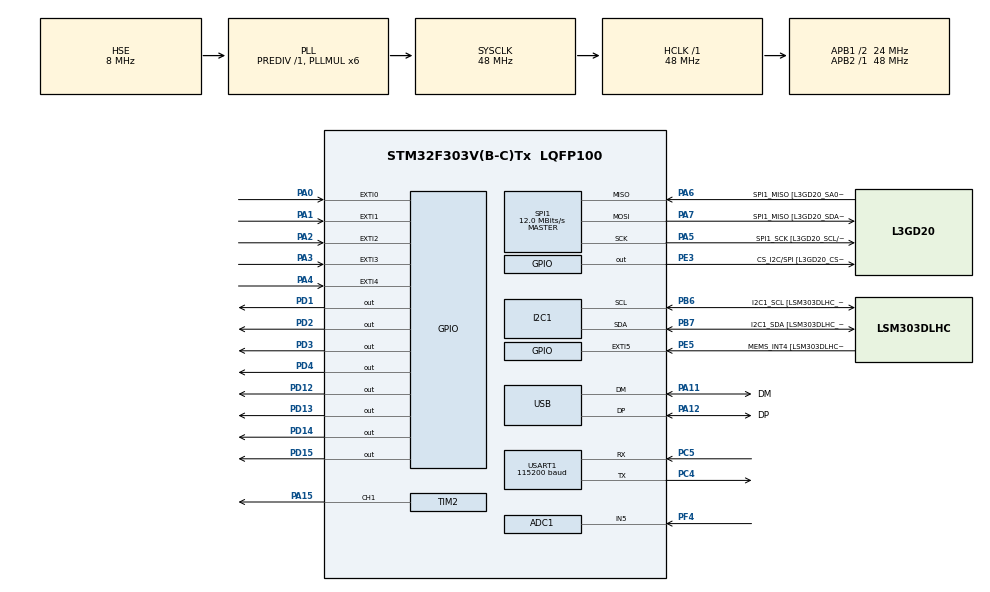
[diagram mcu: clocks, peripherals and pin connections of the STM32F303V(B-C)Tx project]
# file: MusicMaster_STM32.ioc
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ADC1.Channel-1\#ChannelRegularConversion=ADC_CHANNEL_5
ADC1.ContinuousConvMode=ENABLE
ADC1.NbrOfConversionFlag=1
ADC1.Offset-1\#ChannelRegularConversion=0
ADC1.OffsetNumber-1\#ChannelRegularConversion=ADC_OFFSET_NONE
ADC1.Rank-1\#ChannelRegularConversion=1
ADC1.SamplingTime-1\#ChannelRegularConversion=ADC_SAMPLETIME_181CYCLES_5
ADC1.master=1
I2C1.Timing-I2C=0x2000090E
Mcu.Family=STM32F3
Mcu.Name=STM32F303V(B-C)Tx
Mcu.Package=LQFP100
NVIC.ADC1_2_IRQn=true\:1\:0\:true\:false\:true\:true\:true\:true
NVIC.EXTI0_IRQn=true\:0\:0\:true\:false\:true\:true\:true\:true
NVIC.EXTI1_IRQn=true\:0\:0\:false\:false\:true\:true\:true\:true
NVIC.EXTI2_TSC_IRQn=true\:0\:0\:true\:false\:true\:true\:true\:true
NVIC.EXTI3_IRQn=true\:0\:0\:false\:false\:true\:true\:true\:true
NVIC.EXTI4_IRQn=true\:0\:0\:true\:false\:true\:true\:true\:true
NVIC.PriorityGroup=NVIC_PRIORITYGROUP_2
NVIC.TIM1_UP_TIM16_IRQn=true\:0\:0\:false\:false\:true\:true\:true\:true
NVIC.USART1_IRQn=true\:2\:0\:true\:false\:true\:true\:true\:true
PA0.GPIO_ModeDefaultEXTI=GPIO_MODE_IT_RISING_FALLING
PA0.Signal=GPXTI0
PA1.GPIO_ModeDefaultEXTI=GPIO_MODE_IT_RISING_FALLING
PA1.GPIO_PuPd=GPIO_PULLUP
PA1.Signal=GPXTI1
PA11.GPIO_Label=DM
PA11.Mode=Device
PA11.Signal=USB_DM
PA12.GPIO_Label=DP
PA12.Mode=Device
PA12.Signal=USB_DP
PA13.GPIO_Label=SWDIO
PA13.Mode=Serial_Wire
PA13.Signal=SYS_JTMS-SWDIO
PA14.GPIO_Label=SWCLK
PA14.Mode=Serial_Wire
PA14.Signal=SYS_JTCK-SWCLK
PA15.Signal=S_TIM2_CH1_ETR
PA2.GPIO_ModeDefaultEXTI=GPIO_MODE_IT_RISING_FALLING
PA2.GPIO_PuPd=GPIO_PULLUP
PA2.Signal=GPXTI2
PA3.GPIO_ModeDefaultEXTI=GPIO_MODE_IT_RISING_FALLING
PA3.GPIO_PuPd=GPIO_PULLUP
PA3.Signal=GPXTI3
PA4.GPIO_ModeDefaultEXTI=GPIO_MODE_IT_RISING_FALLING
PA4.GPIO_PuPd=GPIO_PULLUP
PA4.Signal=GPXTI4
PA5.GPIO_Label=SPI1_SCK [L3GD20_SCL/SPC]
PA5.Mode=Full_Duplex_Master
PA5.Signal=SPI1_SCK
PA6.GPIO_Label=SPI1_MISO [L3GD20_SA0/SDO]
PA6.Mode=Full_Duplex_Master
PA6.Signal=SPI1_MISO
PA7.GPIO_Label=SPI1_MISO [L3GD20_SDA/SDI/SDO]
PA7.Mode=Full_Duplex_Master
PA7.Signal=SPI1_MOSI
PB3.GPIO_Label=SWO
PB3.Signal=SYS_JTDO-TRACESWO
PB6.GPIO_Label=I2C1_SCL [LSM303DLHC_SCL]
PB6.GPIO_Pu=GPIO_PULLUP
PB6.Mode=I2C
PB6.Signal=I2C1_SCL
PB7.GPIO_Label=I2C1_SDA [LSM303DLHC_SDA]
PB7.GPIO_Pu=GPIO_PULLUP
PB7.Mode=I2C
PB7.Signal=I2C1_SDA
PC14-OSC32_IN.GPIO_Label=OSC32_IN
PC14-OSC32_IN.Signal=RCC_OSC32_IN
PC15-OSC32_OUT.GPIO_Label=OSC32_OUT
PC15-OSC32_OUT.Signal=RCC_OSC32_OUT
PC4.Mode=Asynchronous
PC4.Signal=USART1_TX
PC5.Mode=Asynchronous
PC5.Signal=USART1_RX
PD1.Signal=GPIO_Output
PD12.Signal=GPIO_Output
PD13.Signal=GPIO_Output
PD14.Signal=GPIO_Output
PD15.Signal=GPIO_Output
PD2.Signal=GPIO_Output
PD3.Signal=GPIO_Output
PD4.Signal=GPIO_Output
PE3.GPIO_Label=CS_I2C/SPI [L3GD20_CS_I2C/SPI]
PE3.Signal=GPIO_Output
PE5.GPIO_Label=MEMS_INT4 [LSM303DLHC_INT2]
PE5.GPIO_ModeDefaultEXTI=GPIO_MODE_EVT_RISING
PE5.Signal=GPXTI5
PF0-OSC_IN.GPIO_Label=OSC_IN
PF0-OSC_IN.Mode=HSE-External-Clock-Source
PF0-OSC_IN.Signal=RCC_OSC_IN
PF1-OSC_OUT.GPIO_Label=OSC_OUT
PF1-OSC_OUT.Signal=RCC_OSC_OUT
PF4.Mode=IN5-Single-Ended
PF4.Signal=ADC1_IN5
ProjectManager.HeapSize=0x200
ProjectManager.StackSize=0x400
ProjectManager.TargetToolchain=STM32CubeIDE
RCC.AHBFreq_Value=48000000
RCC.APB1CLKDivider=RCC_HCLK_DIV2
RCC.APB1Freq_Value=24000000
RCC.APB1TimFreq_Value=48000000
RCC.APB2Freq_Value=48000000
RCC.APB2TimFreq_Value=48000000
RCC.CortexFreq_Value=48000000
RCC.HCLKFreq_Value=48000000
RCC.HSE_VALUE=8000000
RCC.HSI_VALUE=8000000
RCC.LSE_VALUE=32768
RCC.PLLMUL=RCC_PLL_MUL6
RCC.SYSCLKFreq_VALUE=48000000
RCC.SYSCLKSourceVirtual=RCC_SYSCLKSOURCE_PLLCLK
RCC.USBFreq_Value=48000000
SH.S_TIM2_CH1_ETR.0=TIM2_CH1,PWM Generation1 CH1
SPI1.BaudRatePrescaler=SPI_BAUDRATEPRESCALER_4
SPI1.BaudRatePrescaler-Full_Duplex_Master=SPI_BAUDRATEPRESCALER_2
SPI1.CalculateBaudRate=12.0 MBits/s
SPI1.CalculateBaudRate-Full_Duplex_Master=24.0 MBits/s
SPI1.Direction=SPI_DIRECTION_2LINES
SPI1.Mode=SPI_MODE_MASTER
SPI1.Mode-Full_Duplex_Master=SPI_MODE_MASTER
SPI1.VirtualType=VM_MASTER
TIM1.Period=5-1
TIM1.Prescaler=4800-1
TIM2.Channel-PWM\ Generation1\ CH1=TIM_CHANNEL_1
USART1.BaudRate=115200
USART1.VirtualMode-Asynchronous=VM_ASYNC
VP_TIM1_VS_ClockSourceINT.Mode=Internal
VP_TIM2_VS_ClockSourceINT.Mode=Internal
board=STM32F3DISCOVERY

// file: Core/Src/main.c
/* USER CODE BEGIN Header */
/**
 ******************************************************************************
 * @file           : main.c
 * @brief          : Main program body
 ******************************************************************************
 * @attention
 *
 * Copyright (c) 2024 STMicroelectronics.
 * All rights reserved.
 *
 * This software is licensed under terms that can be found in the LICENSE file
 * in the root directory of this software component.
 * If no LICENSE file comes with this software, it is provided AS-IS.
 *
 ******************************************************************************
 */
/* USER CODE END Header */
#include "main.h"

/* USER CODE BEGIN Includes */
#include "music_library.h"
#include "dictionary.h"
#include "stdlib.h"
#include "time.h"
/* USER CODE END Includes */

/* USER CODE BEGIN PD */
#define DEBOUNCE_DELAY 350
//Use Define to set when the 7-segment is on or off
//(to support both:{common anode, common cathode)
#define DISPLAY_ON GPIO_PIN_RESET
#define DISPLAY_OFF GPIO_PIN_SET
/* USER CODE END PD */

ADC_HandleTypeDef hadc1;

I2C_HandleTypeDef hi2c1;

SPI_HandleTypeDef hspi1;

TIM_HandleTypeDef htim1;
TIM_HandleTypeDef htim2;

UART_HandleTypeDef huart1;

PCD_HandleTypeDef hpcd_USB_FS;

void SystemClock_Config(void);
static void MX_GPIO_Init(void);
static void MX_I2C1_Init(void);
static void MX_SPI1_Init(void);
static void MX_USB_PCD_Init(void);
static void MX_TIM1_Init(void);
static void MX_TIM2_Init(void);
static void MX_USART1_UART_Init(void);
static void MX_ADC1_Init(void);

/* USER CODE BEGIN 0 */
struct digit {
	int number;
	uint16_t pattern;
	uint16_t anti_pattern;
};
extern struct Dictionary *playlist;
extern char **playlistOrder;
int playedCount = 0, currentMusic = 0, adc_select = 0;
int index = 0;

extern volatile uint16_t volume;
struct Tone *melody;

uint16_t led[4];

int carrier[] = { 0, 0, 0, 0 };
int random_number;

uint32_t timePassed;
uint32_t previousMillis = 0;
uint32_t currentMillis = 0;

struct digit digits[10];

enum ProgramState {
	Paused, Resume, IDLE
};
enum ProgramState programState = Paused;

enum ProgramMode {
	Shuffle, Liner
};
enum ProgramMode programMode = Liner;

//UART BEGIN
//Time since program start
char* get_current_time() {
	static char time_str[6];

	// Convert milliseconds to seconds
	uint32_t seconds = timePassed / 1000;
	// Calculate minutes
	uint32_t minutes = seconds / 60;

	snprintf(time_str, sizeof(time_str), "%02d:%02d", minutes % 60,
			seconds % 60);

	return time_str;
}
void sendInfo(char *message, int *helper, int num, int number_size) {
	if (number_size == 0)
		number_size = 1;

	int message_len = strlen(message);
	message[message_len++] = ' ';
	for (int i = 0; i < number_size; i++) {
		message[message_len++] = helper[i] + '0';
	}
	message[message_len++] = ']';
	message[message_len++] = '[';
	message[message_len] = '\0';
	char *time_str = get_current_time();
	for (int i = 0; i < 5; i++) {
		message[message_len++] = time_str[i];
	}
	message[message_len++] = ']';
	message[message_len++] = '\n';
	message[message_len] = '\0';

	HAL_UART_Transmit(&huart1, message, message_len, 100);
}

void sendError(int changeMusic) {
	char error_message[34];
	char *time_str = get_current_time();

	if (changeMusic) {
		strcpy(error_message, "[ERROR] [Music not found][     ]\n");
		for (int i = 0; i < 5; i++) {
			error_message[strlen(error_message) - 7 + i] = time_str[i];
		}
		HAL_UART_Transmit_IT(&huart1, error_message, 33);
	} else {
		strcpy(error_message, "[ERROR] [Volume not Valid][     ]\n");
		for (int i = 0; i < 5; i++) {
			error_message[strlen(error_message) - 7 + i] = time_str[i];
		}
		HAL_UART_Transmit_IT(&huart1, error_message, 34);
	}
}

//Function to extract music number from Set_Music()
void extractNumber(const uint8_t *data) {
	int helper[digit_count(getDictSize(playlist))];
	int flag = 0;
	if (data[10 + digit_count(getDictSize(playlist))] == ')'
			&& (data[10] != '0')) {
		for (int i = 10; i < 10 + digit_count(getDictSize(playlist)); i++) {
			if (data[i] <= '9' && data[i] >= '0') {
				helper[i - 10] = data[i] - '0';
			} else {
				flag = 1;
				break;
			}
		}
		if (!flag) {
			int num = array_to_number(helper,
					digit_count(getDictSize(playlist)));
			if (num <= getDictSize(playlist)) {
				set_music(num);
				char message[100] = "[INFO][Music changed to ";
				sendInfo(message, helper, num, digit_count(num));
				return;
			}
		}
	}
	sendError(1);
//failed
}

void extractVolume(const uint8_t *data) {
	int helper[strlen(data) - 13];
	int flag = 0;
	for (int i = 11; i < strlen(data) - 2; i++) {
		if (data[i] <= '9' && data[i] >= '0') {
			helper[i - 11] = data[i] - '0';
		} else {
			flag = 1;
			break;
		}
	}
	if (!flag) {
		int num = array_to_number(helper, strlen(data) - 13);

		if (num < 101 && num > -1) {
			volume = num;
			char message[100] = "[INFO][Volume changed to ";
			sendInfo(message, helper, num, digit_count(num));
			return;
		}
	}
	sendError(0);
//failed
}

int compareStrings(const char *str1, const uint8_t *str2, int n) {
	for (int i = 0; i < n; i++) {
		if (str1[i] != str2[i]) {
			return 0;
		}
	}
	return 1;
}

char pause[5] = "pause";
char resume[6] = "resume";
char setMusic[10] = "set_music(";
char setVolume[11] = "set_volume(";

char setShuffle[18] = "play_mode(shuffle)";
char setLiner[18] = "play_mode(ordered)";

uint8_t data[100];
uint8_t d;
uint8_t i;

void HAL_UART_RxCpltCallback(UART_HandleTypeDef *huart) {
	if (huart->Instance == USART1) {
		HAL_UART_Receive_IT(&huart1, &d, 1);
		data[i++] = d;
		if (d == '\n') {
			data[i] = '\0';
			int len = strlen(data);
			if ((i == 6 && compareStrings(pause, data, 5) == 1)) {
				programState = Paused;
				HAL_UART_Transmit_IT(&huart1, "-=MUSIC PAUSED=-\r", 17);
			} else if (i == 7 && compareStrings(resume, data, 6) == 1) {

				programState = Resume;
				HAL_UART_Transmit_IT(&huart1, "-=MUSIC RESUME=-\n", 17);

			} else if (i == 12 + digit_count(getDictSize(playlist))
					&& compareStrings(setMusic, data, 10) == 1) {
				extractNumber(data);

			} else if (((i > 13 && i < 17) && data[len - 2] == ')')
					&& compareStrings(setVolume, data, 11) == 1) {
				extractVolume(data);
			} else if ((i == 19) && compareStrings(setShuffle, data, 18) == 1) {
				char message[100] = "[INFO][Play mode changed to Shuffle][";
				int message_len = strlen(message);
				char *time_str = get_current_time();
				for (int i = 0; i < 5; i++) {
					message[message_len++] = time_str[i];
				}
				message[message_len++] = ']';
				message[message_len++] = '\n';
				message[message_len] = '\0';

				HAL_UART_Transmit(&huart1, message, message_len, 100);
				change_program_mode(1);
			} else if ((i == 19) && compareStrings(setLiner, data, 18) == 1) {
				char message[100] = "[INFO][Play mode changed to Ordered][";
				int message_len = strlen(message);
				char *time_str = get_current_time();
				for (int i = 0; i < 5; i++) {
					message[message_len++] = time_str[i];
				}
				message[message_len++] = ']';
				message[message_len++] = '\n';
				message[message_len] = '\0';

				HAL_UART_Transmit(&huart1, message, message_len, 100);
				change_program_mode(0);
			} else {
				HAL_UART_Transmit_IT(&huart1, "INVALID INPUT\n", 14);
			}

			i = 0;
		}

	}
}

//UART END

//ADC Begin
enum ADC_FUNCTION {
	CHANGE_MUSIC, CHANGE_VOLUME, NONE
};
enum ADC_FUNCTION adc_function = NONE;

uint32_t normalize_adc(uint32_t adc_value, uint32_t max_adc_value,
		uint32_t playlist_size) {
	if (adc_function == CHANGE_MUSIC) {
		// Calculate the step size
		float step = (float) max_adc_value / (playlist_size);
		// Calculate the normalized music number
		uint32_t normalized_number = (uint32_t) ((float) adc_value / step + 0.5); // Adding 0.5 for rounding
		// Ensure the normalized number is at least 1
		if (normalized_number < 1) {
			normalized_number = 1;
		}
		adc_select = normalized_number;
		return normalized_number;
	} else if (adc_function == CHANGE_VOLUME) {
		adc_value = (adc_value * 100U) / (max_adc_value - 1);
		if (adc_value > 95) {
			adc_value = 101;
		}
		if (adc_value <= 1)
			adc_value = 1;
		adc_select = adc_value - 1;
		adc_value -= 1;
		if (adc_value <= 0)
			adc_value = 0;
		return adc_value - 1;
	}

}

int adc_indx = 0;
uint32_t adc_values[10];
int denoise_adc() {
	int sum = 0;
	for (int i = 0; i < 10; i++) {
		sum += adc_values[i];
	}
	return sum / 10;
}

void HAL_ADC_ConvCpltCallback(ADC_HandleTypeDef *hadc) {
	if (hadc->Instance == ADC1) {
		uint32_t value;
		value = HAL_ADC_GetValue(hadc);
		if (adc_indx < 10)
			adc_values[adc_indx++] = value;
		else {
			adc_indx = 0;
			value = denoise_adc();
			extract_int_to_carrier(
					normalize_adc(value, 4095, getDictSize(playlist)));
		}
	}
}
//ADC End

void display_number(int led_flag, int _number) {
	HAL_GPIO_WritePin(GPIOD,
	GPIO_PIN_1 | GPIO_PIN_2 | GPIO_PIN_3 | GPIO_PIN_4, GPIO_PIN_SET);
	HAL_GPIO_WritePin(GPIOD, led[led_flag], DISPLAY_ON);
	if (_number != 0) {
		HAL_GPIO_WritePin(GPIOD, digits[_number].pattern, GPIO_PIN_SET);
	}
	HAL_GPIO_WritePin(GPIOD, digits[_number].anti_pattern, GPIO_PIN_RESET);
}

//test removing
void init_display() {
//Reset All Segment Values
	HAL_GPIO_WritePin(GPIOD,
	GPIO_PIN_13 | GPIO_PIN_14 | GPIO_PIN_15 | GPIO_PIN_12, GPIO_PIN_SET);
	HAL_GPIO_WritePin(GPIOD,
	GPIO_PIN_1 | GPIO_PIN_2 | GPIO_PIN_3 | GPIO_PIN_4, GPIO_PIN_SET);
}

//Carrier is to be displayed on seven segment
int musicNumberSize = 0;
int digit_count(int val) {
	if (val == 0)
		return 1;
	int i, size = 0;
	int temp = val;

	while (temp > 0) {
		temp /= 10;
		size++;
	}
	return size;
}

void extract_int_to_carrier(int val) {
	int i;
	i = digit_count(val) - 1;
	musicNumberSize = digit_count(val);

	while (val > 0) {
		carrier[i--] = val % 10;
		val /= 10;
	}
}

int array_to_number(int *array, int size) {
	int number = 0;
	for (int i = 0; i < size; i++) {
		number = number * 10 + array[i];
	}
	return number;
}

int* number_to_array(int num) {
	if (num == 0) {
		int arr[1] = { 0 };
		return arr;
	}

	int *arr = (int*) malloc(digit_count(num) * sizeof(int));

	int temp = num;
	int i = digit_count(num) - 1;

	while (temp != 0) {
		arr[i--] = temp % 10;
		temp /= 10;
	}

	return arr;
}

int generate_random_int() {
	return random_number = rand() % getDictSize(playlist);
}

void change_program_mode(int shuffle) {
	if (!shuffle) {
		//To resume after last shuffle music
		playedCount = currentMusic;
		programMode = Liner;
	} else {
		programMode = Shuffle;
	}
}

int next_shuffle() {
	struct DictionaryNode *node = NULL;
	int toneCount = 0;
	srand(HAL_GetTick());
	int i = generate_random_int();
	melody = lookup(playlist, playlistOrder[i], &toneCount, &node);

	while (node && isBlacklisted(node)) {
		i = generate_random_int();
		melody = lookup(playlist, playlistOrder[i], &toneCount, &node);
	}
	currentMusic = i + 1;
	if (node) {
		setBlacklisted(node);
		playedCount++;
	}

	return toneCount;
}

//Choose next music based on programMode
void next_music() {
	int toneCount;
	struct DictionaryNode *node;
	if (programState == Resume) {
		if (playedCount >= getDictSize(playlist)) {
			for (int i = 0; i < getDictSize(playlist); i++) {
				melody = lookup(playlist, playlistOrder[i], &toneCount, &node);
				unsetBlacklisted(node);
			}
			playedCount = 0;
		}

		if (programMode == Liner) {
			currentMusic = playedCount + 1;
			melody = lookup(playlist, playlistOrder[playedCount++], &toneCount,
					&node);
			Change_Melody(melody, toneCount);
		} else {
			toneCount = next_shuffle();
			Change_Melody(melody, toneCount);
		}
		extract_int_to_carrier(currentMusic);
	}
}

//Set music directly
void set_music(int num) {
	int toneCount;
	struct DictionaryNode *node;
	melody = lookup(playlist, playlistOrder[num - 1], &toneCount, &node);
	Change_Melody(melody, toneCount);
	currentMusic = num;
	playedCount = num;
	unsetBlacklisted(node);
	extract_int_to_carrier(currentMusic);
}
/* USER CODE END 0 */

int main(void)
{
  /* USER CODE BEGIN 1 */

	struct digit _digits[10];
	_digits[0].number = 0;
	_digits[0].anti_pattern = GPIO_PIN_12 | GPIO_PIN_13 | GPIO_PIN_14
			| GPIO_PIN_15;

	_digits[1].number = 1;
	_digits[1].pattern = GPIO_PIN_12;
	_digits[1].anti_pattern = GPIO_PIN_13 | GPIO_PIN_14 | GPIO_PIN_15;

	_digits[2].number = 2;
	_digits[2].pattern = GPIO_PIN_13;
	_digits[2].anti_pattern = GPIO_PIN_12 | GPIO_PIN_14 | GPIO_PIN_15;

	_digits[3].number = 3;
	_digits[3].pattern = GPIO_PIN_12 | GPIO_PIN_13;
	_digits[3].anti_pattern = GPIO_PIN_14 | GPIO_PIN_15;

	_digits[4].number = 4;
	_digits[4].pattern = GPIO_PIN_14;
	_digits[4].anti_pattern = GPIO_PIN_12 | GPIO_PIN_13 | GPIO_PIN_15;

	_digits[5].number = 5;
	_digits[5].pattern = GPIO_PIN_12 | GPIO_PIN_14;
	_digits[5].anti_pattern = GPIO_PIN_13 | GPIO_PIN_15;

	_digits[6].number = 6;
	_digits[6].pattern = GPIO_PIN_13 | GPIO_PIN_14;
	_digits[6].anti_pattern = GPIO_PIN_12 | GPIO_PIN_15;

	_digits[7].number = 7;
	_digits[7].pattern = GPIO_PIN_12 | GPIO_PIN_13 | GPIO_PIN_14;
	_digits[7].anti_pattern = GPIO_PIN_15;

	_digits[8].number = 8;
	_digits[8].pattern = GPIO_PIN_15;
	_digits[8].anti_pattern = GPIO_PIN_12 | GPIO_PIN_13 | GPIO_PIN_14;

	_digits[9].number = 9;
	_digits[9].pattern = GPIO_PIN_12 | GPIO_PIN_15;
	_digits[9].anti_pattern = GPIO_PIN_13 | GPIO_PIN_14;

//initialize Global digits structure
	for (int i = 0; i < 10; i++) {
		digits[i] = _digits[i];
	}

  /* USER CODE END 1 */

  /* MCU Configuration--------------------------------------------------------*/

  /* Reset of all peripherals, Initializes the Flash interface and the Systick. */
  HAL_Init();

  /* USER CODE BEGIN Init */

//Set 7-segment PINS
	led[0] = GPIO_PIN_1;
	led[1] = GPIO_PIN_2;
	led[2] = GPIO_PIN_3;
	led[3] = GPIO_PIN_4;

  /* USER CODE END Init */

  /* Configure the system clock */
  SystemClock_Config();

  /* Initialize all configured peripherals */
  MX_GPIO_Init();
  MX_I2C1_Init();
  MX_SPI1_Init();
  MX_USB_PCD_Init();
  MX_TIM1_Init();
  MX_TIM2_Init();
  MX_USART1_UART_Init();
  MX_ADC1_Init();
  /* USER CODE BEGIN 2 */
	HAL_TIM_Base_Start_IT(&htim1);
	HAL_UART_Transmit_IT(&huart1,
			"=============\nProgram Running\n=============\n", 44);
	HAL_UART_Receive_IT(&huart1, &d, 1);
	initTonesDictionary();
	PWM_Start();

  /* USER CODE END 2 */

  /* Infinite loop */
	while (1) {

	}
}

void SystemClock_Config(void)
{
  RCC_OscInitTypeDef RCC_OscInitStruct = {0};
  RCC_ClkInitTypeDef RCC_ClkInitStruct = {0};
  RCC_PeriphCLKInitTypeDef PeriphClkInit = {0};

  /** Initializes the RCC Oscillators according to the specified parameters
  * in the RCC_OscInitTypeDef structure.
  */
  RCC_OscInitStruct.OscillatorType = RCC_OSCILLATORTYPE_HSI|RCC_OSCILLATORTYPE_HSE;
  RCC_OscInitStruct.HSEState = RCC_HSE_BYPASS;
  RCC_OscInitStruct.HSEPredivValue = RCC_HSE_PREDIV_DIV1;
  RCC_OscInitStruct.HSIState = RCC_HSI_ON;
  RCC_OscInitStruct.HSICalibrationValue = RCC_HSICALIBRATION_DEFAULT;
  RCC_OscInitStruct.PLL.PLLState = RCC_PLL_ON;
  RCC_OscInitStruct.PLL.PLLSource = RCC_PLLSOURCE_HSE;
  RCC_OscInitStruct.PLL.PLLMUL = RCC_PLL_MUL6;
  if (HAL_RCC_OscConfig(&RCC_OscInitStruct) != HAL_OK)
  {
    Error_Handler();
  }

  /** Initializes the CPU, AHB and APB buses clocks
  */
  RCC_ClkInitStruct.ClockType = RCC_CLOCKTYPE_HCLK|RCC_CLOCKTYPE_SYSCLK
                              |RCC_CLOCKTYPE_PCLK1|RCC_CLOCKTYPE_PCLK2;
  RCC_ClkInitStruct.SYSCLKSource = RCC_SYSCLKSOURCE_PLLCLK;
  RCC_ClkInitStruct.AHBCLKDivider = RCC_SYSCLK_DIV1;
  RCC_ClkInitStruct.APB1CLKDivider = RCC_HCLK_DIV2;
  RCC_ClkInitStruct.APB2CLKDivider = RCC_HCLK_DIV1;

  if (HAL_RCC_ClockConfig(&RCC_ClkInitStruct, FLASH_LATENCY_1) != HAL_OK)
  {
    Error_Handler();
  }
  PeriphClkInit.PeriphClockSelection = RCC_PERIPHCLK_USB|RCC_PERIPHCLK_USART1
                              |RCC_PERIPHCLK_I2C1|RCC_PERIPHCLK_TIM1
                              |RCC_PERIPHCLK_ADC12;
  PeriphClkInit.Usart1ClockSelection = RCC_USART1CLKSOURCE_PCLK2;
  PeriphClkInit.Adc12ClockSelection = RCC_ADC12PLLCLK_DIV1;
  PeriphClkInit.I2c1ClockSelection = RCC_I2C1CLKSOURCE_HSI;
  PeriphClkInit.USBClockSelection = RCC_USBCLKSOURCE_PLL;
  PeriphClkInit.Tim1ClockSelection = RCC_TIM1CLK_HCLK;
  if (HAL_RCCEx_PeriphCLKConfig(&PeriphClkInit) != HAL_OK)
  {
    Error_Handler();
  }
}

static void MX_ADC1_Init(void)
{

  ADC_MultiModeTypeDef multimode = {0};
  ADC_ChannelConfTypeDef sConfig = {0};

  /** Common config
  */
  hadc1.Instance = ADC1;
  hadc1.Init.ClockPrescaler = ADC_CLOCK_ASYNC_DIV1;
  hadc1.Init.Resolution = ADC_RESOLUTION_12B;
  hadc1.Init.ScanConvMode = ADC_SCAN_DISABLE;
  hadc1.Init.ContinuousConvMode = ENABLE;
  hadc1.Init.DiscontinuousConvMode = DISABLE;
  hadc1.Init.ExternalTrigConvEdge = ADC_EXTERNALTRIGCONVEDGE_NONE;
  hadc1.Init.ExternalTrigConv = ADC_SOFTWARE_START;
  hadc1.Init.DataAlign = ADC_DATAALIGN_RIGHT;
  hadc1.Init.NbrOfConversion = 1;
  hadc1.Init.DMAContinuousRequests = DISABLE;
  hadc1.Init.EOCSelection = ADC_EOC_SINGLE_CONV;
  hadc1.Init.LowPowerAutoWait = DISABLE;
  hadc1.Init.Overrun = ADC_OVR_DATA_OVERWRITTEN;
  if (HAL_ADC_Init(&hadc1) != HAL_OK)
  {
    Error_Handler();
  }

  /** Configure the ADC multi-mode
  */
  multimode.Mode = ADC_MODE_INDEPENDENT;
  if (HAL_ADCEx_MultiModeConfigChannel(&hadc1, &multimode) != HAL_OK)
  {
    Error_Handler();
  }

  /** Configure Regular Channel
  */
  sConfig.Channel = ADC_CHANNEL_5;
  sConfig.Rank = ADC_REGULAR_RANK_1;
  sConfig.SingleDiff = ADC_SINGLE_ENDED;
  sConfig.SamplingTime = ADC_SAMPLETIME_181CYCLES_5;
  sConfig.OffsetNumber = ADC_OFFSET_NONE;
  sConfig.Offset = 0;
  if (HAL_ADC_ConfigChannel(&hadc1, &sConfig) != HAL_OK)
  {
    Error_Handler();
  }

}

static void MX_I2C1_Init(void)
{

  hi2c1.Instance = I2C1;
  hi2c1.Init.Timing = 0x2000090E;
  hi2c1.Init.OwnAddress1 = 0;
  hi2c1.Init.AddressingMode = I2C_ADDRESSINGMODE_7BIT;
  hi2c1.Init.DualAddressMode = I2C_DUALADDRESS_DISABLE;
  hi2c1.Init.OwnAddress2 = 0;
  hi2c1.Init.OwnAddress2Masks = I2C_OA2_NOMASK;
  hi2c1.Init.GeneralCallMode = I2C_GENERALCALL_DISABLE;
  hi2c1.Init.NoStretchMode = I2C_NOSTRETCH_DISABLE;
  if (HAL_I2C_Init(&hi2c1) != HAL_OK)
  {
    Error_Handler();
  }

  /** Configure Analogue filter
  */
  if (HAL_I2CEx_ConfigAnalogFilter(&hi2c1, I2C_ANALOGFILTER_ENABLE) != HAL_OK)
  {
    Error_Handler();
  }

  /** Configure Digital filter
  */
  if (HAL_I2CEx_ConfigDigitalFilter(&hi2c1, 0) != HAL_OK)
  {
    Error_Handler();
  }

}

static void MX_SPI1_Init(void)
{

  /* SPI1 parameter configuration*/
  hspi1.Instance = SPI1;
  hspi1.Init.Mode = SPI_MODE_MASTER;
  hspi1.Init.Direction = SPI_DIRECTION_2LINES;
  hspi1.Init.DataSize = SPI_DATASIZE_4BIT;
  hspi1.Init.CLKPolarity = SPI_POLARITY_LOW;
  hspi1.Init.CLKPhase = SPI_PHASE_1EDGE;
  hspi1.Init.NSS = SPI_NSS_SOFT;
  hspi1.Init.BaudRatePrescaler = SPI_BAUDRATEPRESCALER_4;
  hspi1.Init.FirstBit = SPI_FIRSTBIT_MSB;
  hspi1.Init.TIMode = SPI_TIMODE_DISABLE;
  hspi1.Init.CRCCalculation = SPI_CRCCALCULATION_DISABLE;
  hspi1.Init.CRCPolynomial = 7;
  hspi1.Init.CRCLength = SPI_CRC_LENGTH_DATASIZE;
  hspi1.Init.NSSPMode = SPI_NSS_PULSE_ENABLE;
  if (HAL_SPI_Init(&hspi1) != HAL_OK)
  {
    Error_Handler();
  }

}

static void MX_TIM1_Init(void)
{

  TIM_ClockConfigTypeDef sClockSourceConfig = {0};
  TIM_MasterConfigTypeDef sMasterConfig = {0};

  htim1.Instance = TIM1;
  htim1.Init.Prescaler = 4800-1;
  htim1.Init.CounterMode = TIM_COUNTERMODE_UP;
  htim1.Init.Period = 5-1;
  htim1.Init.ClockDivision = TIM_CLOCKDIVISION_DIV1;
  htim1.Init.RepetitionCounter = 0;
  htim1.Init.AutoReloadPreload = TIM_AUTORELOAD_PRELOAD_DISABLE;
  if (HAL_TIM_Base_Init(&htim1) != HAL_OK)
  {
    Error_Handler();
  }
  sClockSourceConfig.ClockSource = TIM_CLOCKSOURCE_INTERNAL;
  if (HAL_TIM_ConfigClockSource(&htim1, &sClockSourceConfig) != HAL_OK)
  {
    Error_Handler();
  }
  sMasterConfig.MasterOutputTrigger = TIM_TRGO_RESET;
  sMasterConfig.MasterOutputTrigger2 = TIM_TRGO2_RESET;
  sMasterConfig.MasterSlaveMode = TIM_MASTERSLAVEMODE_DISABLE;
  if (HAL_TIMEx_MasterConfigSynchronization(&htim1, &sMasterConfig) != HAL_OK)
  {
    Error_Handler();
  }

}

static void MX_TIM2_Init(void)
{

  TIM_ClockConfigTypeDef sClockSourceConfig = {0};
  TIM_MasterConfigTypeDef sMasterConfig = {0};
  TIM_OC_InitTypeDef sConfigOC = {0};

  htim2.Instance = TIM2;
  htim2.Init.Prescaler = 0;
  htim2.Init.CounterMode = TIM_COUNTERMODE_UP;
  htim2.Init.Period = 4294967295;
  htim2.Init.ClockDivision = TIM_CLOCKDIVISION_DIV1;
  htim2.Init.AutoReloadPreload = TIM_AUTORELOAD_PRELOAD_DISABLE;
  if (HAL_TIM_Base_Init(&htim2) != HAL_OK)
  {
    Error_Handler();
  }
  sClockSourceConfig.ClockSource = TIM_CLOCKSOURCE_INTERNAL;
  if (HAL_TIM_ConfigClockSource(&htim2, &sClockSourceConfig) != HAL_OK)
  {
    Error_Handler();
  }
  if (HAL_TIM_PWM_Init(&htim2) != HAL_OK)
  {
    Error_Handler();
  }
  sMasterConfig.MasterOutputTrigger = TIM_TRGO_RESET;
  sMasterConfig.MasterSlaveMode = TIM_MASTERSLAVEMODE_DISABLE;
  if (HAL_TIMEx_MasterConfigSynchronization(&htim2, &sMasterConfig) != HAL_OK)
  {
    Error_Handler();
  }
  sConfigOC.OCMode = TIM_OCMODE_PWM1;
  sConfigOC.Pulse = 0;
  sConfigOC.OCPolarity = TIM_OCPOLARITY_HIGH;
  sConfigOC.OCFastMode = TIM_OCFAST_DISABLE;
  if (HAL_TIM_PWM_ConfigChannel(&htim2, &sConfigOC, TIM_CHANNEL_1) != HAL_OK)
  {
    Error_Handler();
  }
  HAL_TIM_MspPostInit(&htim2);

}

static void MX_USART1_UART_Init(void)
{

  huart1.Instance = USART1;
  huart1.Init.BaudRate = 115200;
  huart1.Init.WordLength = UART_WORDLENGTH_8B;
  huart1.Init.StopBits = UART_STOPBITS_1;
  huart1.Init.Parity = UART_PARITY_NONE;
  huart1.Init.Mode = UART_MODE_TX_RX;
  huart1.Init.HwFlowCtl = UART_HWCONTROL_NONE;
  huart1.Init.OverSampling = UART_OVERSAMPLING_16;
  huart1.Init.OneBitSampling = UART_ONE_BIT_SAMPLE_DISABLE;
  huart1.AdvancedInit.AdvFeatureInit = UART_ADVFEATURE_NO_INIT;
  if (HAL_UART_Init(&huart1) != HAL_OK)
  {
    Error_Handler();
  }

}

static void MX_USB_PCD_Init(void)
{

  hpcd_USB_FS.Instance = USB;
  hpcd_USB_FS.Init.dev_endpoints = 8;
  hpcd_USB_FS.Init.speed = PCD_SPEED_FULL;
  hpcd_USB_FS.Init.phy_itface = PCD_PHY_EMBEDDED;
  hpcd_USB_FS.Init.low_power_enable = DISABLE;
  hpcd_USB_FS.Init.battery_charging_enable = DISABLE;
  if (HAL_PCD_Init(&hpcd_USB_FS) != HAL_OK)
  {
    Error_Handler();
  }

}

static void MX_GPIO_Init(void)
{
  GPIO_InitTypeDef GPIO_InitStruct = {0};

  /* GPIO Ports Clock Enable */
  __HAL_RCC_GPIOE_CLK_ENABLE();
  __HAL_RCC_GPIOC_CLK_ENABLE();
  __HAL_RCC_GPIOF_CLK_ENABLE();
  __HAL_RCC_GPIOA_CLK_ENABLE();
  __HAL_RCC_GPIOD_CLK_ENABLE();
  __HAL_RCC_GPIOB_CLK_ENABLE();

  /*Configure GPIO pin Output Level */
  HAL_GPIO_WritePin(CS_I2C_SPI_GPIO_Port, CS_I2C_SPI_Pin, GPIO_PIN_RESET);

  /*Configure GPIO pin Output Level */
  HAL_GPIO_WritePin(GPIOD, GPIO_PIN_12|GPIO_PIN_13|GPIO_PIN_14|GPIO_PIN_15
                          |GPIO_PIN_1|GPIO_PIN_2|GPIO_PIN_3|GPIO_PIN_4, GPIO_PIN_RESET);

  /*Configure GPIO pin : CS_I2C_SPI_Pin */
  GPIO_InitStruct.Pin = CS_I2C_SPI_Pin;
  GPIO_InitStruct.Mode = GPIO_MODE_OUTPUT_PP;
  GPIO_InitStruct.Pull = GPIO_NOPULL;
  GPIO_InitStruct.Speed = GPIO_SPEED_FREQ_LOW;
  HAL_GPIO_Init(CS_I2C_SPI_GPIO_Port, &GPIO_InitStruct);

  /*Configure GPIO pin : MEMS_INT4_Pin */
  GPIO_InitStruct.Pin = MEMS_INT4_Pin;
  GPIO_InitStruct.Mode = GPIO_MODE_EVT_RISING;
  GPIO_InitStruct.Pull = GPIO_NOPULL;
  HAL_GPIO_Init(MEMS_INT4_GPIO_Port, &GPIO_InitStruct);

  /*Configure GPIO pin : PA0 */
  GPIO_InitStruct.Pin = GPIO_PIN_0;
  GPIO_InitStruct.Mode = GPIO_MODE_IT_RISING_FALLING;
  GPIO_InitStruct.Pull = GPIO_NOPULL;
  HAL_GPIO_Init(GPIOA, &GPIO_InitStruct);

  /*Configure GPIO pins : PA1 PA2 PA3 PA4 */
  GPIO_InitStruct.Pin = GPIO_PIN_1|GPIO_PIN_2|GPIO_PIN_3|GPIO_PIN_4;
  GPIO_InitStruct.Mode = GPIO_MODE_IT_RISING_FALLING;
  GPIO_InitStruct.Pull = GPIO_PULLUP;
  HAL_GPIO_Init(GPIOA, &GPIO_InitStruct);

  /*Configure GPIO pins : PD12 PD13 PD14 PD15
                           PD1 PD2 PD3 PD4 */
  GPIO_InitStruct.Pin = GPIO_PIN_12|GPIO_PIN_13|GPIO_PIN_14|GPIO_PIN_15
                          |GPIO_PIN_1|GPIO_PIN_2|GPIO_PIN_3|GPIO_PIN_4;
  GPIO_InitStruct.Mode = GPIO_MODE_OUTPUT_PP;
  GPIO_InitStruct.Pull = GPIO_NOPULL;
  GPIO_InitStruct.Speed = GPIO_SPEED_FREQ_LOW;
  HAL_GPIO_Init(GPIOD, &GPIO_InitStruct);

  /* EXTI interrupt init*/
  HAL_NVIC_SetPriority(EXTI0_IRQn, 0, 0);
  HAL_NVIC_EnableIRQ(EXTI0_IRQn);

  HAL_NVIC_SetPriority(EXTI1_IRQn, 0, 0);
  HAL_NVIC_EnableIRQ(EXTI1_IRQn);

  HAL_NVIC_SetPriority(EXTI2_TSC_IRQn, 0, 0);
  HAL_NVIC_EnableIRQ(EXTI2_TSC_IRQn);

  HAL_NVIC_SetPriority(EXTI3_IRQn, 0, 0);
  HAL_NVIC_EnableIRQ(EXTI3_IRQn);

  HAL_NVIC_SetPriority(EXTI4_IRQn, 0, 0);
  HAL_NVIC_EnableIRQ(EXTI4_IRQn);

}

/* USER CODE BEGIN 4 */

void HAL_GPIO_EXTI_Callback(uint16_t GPIO_Pin) {
	currentMillis = HAL_GetTick();
	if ((GPIO_Pin == GPIO_PIN_1)) {

		if ((currentMillis - previousMillis > DEBOUNCE_DELAY)) {
//			counterInside++;
			next_music();
			previousMillis = currentMillis;
		}
	} else if (GPIO_Pin == GPIO_PIN_2) {
		if (!HAL_GPIO_ReadPin(GPIOA, GPIO_PIN_2)) {
			if (currentMillis - previousMillis > DEBOUNCE_DELAY
					&& adc_function != CHANGE_MUSIC) {
				// Rising edge of button 2
				adc_function = CHANGE_VOLUME;
				HAL_ADC_Start_IT(&hadc1);
				previousMillis = currentMillis;
			}
		} else {
			// Falling edge of button 2
			adc_function = NONE;
			volume = adc_select;
			char message[100] = "[INFO][Volume changed to ";
			int *helper = number_to_array(adc_select);
			sendInfo(message, helper, adc_select, digit_count(adc_select));
			HAL_ADC_Stop_IT(&hadc1);
			extract_int_to_carrier(currentMusic);
		}

	} else if ((GPIO_Pin == GPIO_PIN_3)) {

		if ((currentMillis - previousMillis > DEBOUNCE_DELAY)) {
			if (programState == Paused || programState == IDLE)
				programState = Resume;
			else if (programState == Resume)
				programState = Paused;
			previousMillis = currentMillis;
		}
	} else if ((GPIO_Pin == GPIO_PIN_4)) {
		if (!HAL_GPIO_ReadPin(GPIOA, GPIO_PIN_4)) {
			if ((currentMillis - previousMillis > DEBOUNCE_DELAY
					&& adc_function != CHANGE_VOLUME)) {
				// Rising edge of button 2
				adc_function = CHANGE_MUSIC;
				HAL_ADC_Start_IT(&hadc1);
				previousMillis = currentMillis;
			}
		} else {
			char message[100] = "[INFO][Music changed to ";
			int helper = number_to_array(adc_select);
			sendInfo(message, helper, adc_select, digit_count(adc_select));
			adc_function = NONE;
			HAL_ADC_Stop_IT(&hadc1);
			set_music(adc_select);
		}
	} else if (GPIO_Pin == GPIO_PIN_0) {
	}
}

void HAL_TIM_PeriodElapsedCallback(TIM_HandleTypeDef *htim) {
	if (htim->Instance == TIM1) {
		timePassed = HAL_GetTick();
		if (index < musicNumberSize) {
			display_number(index, carrier[index]);
		}
		if (index == 4) {
			index = 0;
			init_display();
		} else {
			++index;
		}

	}
}

/* USER CODE END 4 */

void Error_Handler(void)
{
	__disable_irq();
	while (1) {
	}
}
